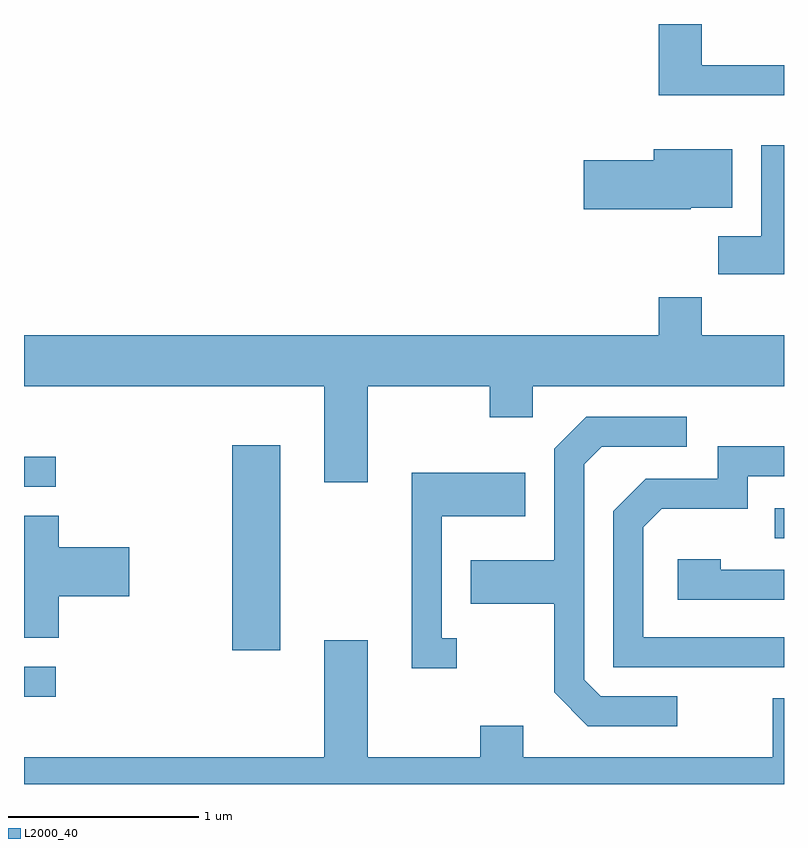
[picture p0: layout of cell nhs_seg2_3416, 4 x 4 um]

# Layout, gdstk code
import gdstk
lib = gdstk.Library(unit=1e-6, precision=1e-09)
def R(c, l, rs):  # rectangles x0, y0, x1, y1
    for r in rs: c.add(gdstk.rectangle(r[:2], r[2:], *l))
def P(c, l, *ps):  # polygons
    for p in ps: c.add(gdstk.Polygon(p, *l))
L2000_40 = (2000, 40)

nhs_seg2_3416 = lib.new_cell('nhs_seg2_3416')
R(nhs_seg2_3416, L2000_40, [(285.611,1022.261,285.778,1022.419), (286.706,1022.506,286.959,1023.584), (289.563,1023.096,289.611,1023.254), (285.611,1023.366,285.778,1023.524)])
P(nhs_seg2_3416, L2000_40, [(289.611,1025.584),(289.179,1025.584),(289.179,1025.802),(288.951,1025.802),(288.951,1025.426),(289.611,1025.426)],
  [(289.611,1025.164),(289.491,1025.164),(289.491,1024.684),(289.266,1024.684),(289.266,1024.486),(289.611,1024.486)],
  [(289.12,1024.836),(289.339,1024.836),(289.339,1025.144),(288.926,1025.144),(288.926,1025.084),(288.556,1025.084),(288.556,1024.826),(289.12,1024.826)],
  [(287.419,1023.896),(288.061,1023.896),(288.061,1023.731),(288.289,1023.731),(288.289,1023.896),(289.611,1023.896),(289.611,1024.164),(289.179,1024.164),(289.179,1024.364),(288.951,1024.364),(288.951,1024.164),(285.611,1024.164),(285.611,1023.896),(287.191,1023.896),(287.191,1023.391),(287.419,1023.391)],
  [(289.048,1022.264),(288.647,1022.264),(288.559,1022.352),(288.559,1023.484),(288.652,1023.576),(289.098,1023.576),(289.098,1023.734),(288.569,1023.734),(288.401,1023.567),(288.401,1022.979),(287.961,1022.979),(287.961,1022.751),(288.401,1022.751),(288.401,1022.284),(288.579,1022.106),(289.048,1022.106)],
  [(289.611,1022.574),(288.869,1022.574),(288.869,1023.154),(288.967,1023.251),(289.419,1023.251),(289.419,1023.421),(289.611,1023.421),(289.611,1023.579),(289.261,1023.579),(289.261,1023.409),(288.884,1023.409),(288.711,1023.237),(288.711,1022.416),(289.611,1022.416)],
  [(287.888,1022.569),(287.809,1022.569),(287.809,1023.211),(288.249,1023.211),(288.249,1023.439),(287.651,1023.439),(287.651,1022.411),(287.888,1022.411)],
  [(285.794,1022.791),(286.164,1022.791),(286.164,1023.049),(285.794,1023.049),(285.794,1023.214),(285.611,1023.214),(285.611,1022.571),(285.794,1022.571)],
  [(289.611,1022.929),(289.279,1022.929),(289.279,1022.984),(289.051,1022.984),(289.051,1022.771),(289.611,1022.771)],
  [(289.611,1022.254),(289.551,1022.254),(289.551,1021.944),(288.239,1021.944),(288.239,1022.109),(288.011,1022.109),(288.011,1021.944),(287.419,1021.944),(287.419,1022.559),(287.191,1022.559),(287.191,1021.944),(285.611,1021.944),(285.611,1021.802),(289.611,1021.802)])

lib.write_gds('nhs_seg2_3416.gds')
